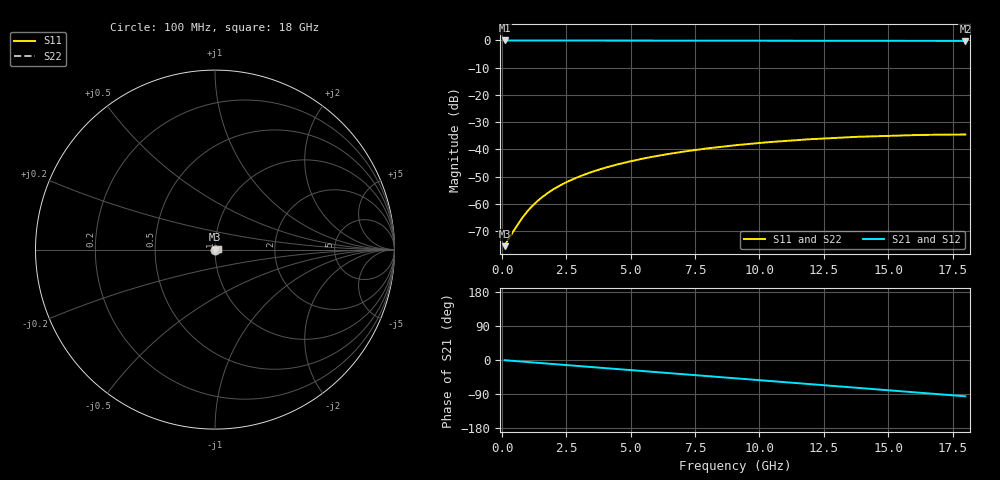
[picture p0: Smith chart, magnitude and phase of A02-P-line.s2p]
! yapnr rf coupon A: A02 P L2.5 (line, family P)
! stackup JLC04161H-7628, nominal parameters; reference planes 10 mm from each end; 50 ohm (renormalized from the line's Zc)
! model: 2D quasi-static RLGC (Djordjevic-Sarkar, Huray roughness, Wheeler loss); generated by python -m yapnr.rf.coupons expected
# GHz S DB R 50
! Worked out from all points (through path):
!   180 points, 100 MHz to 18 GHz, reference 50 ohm
!   highest |S21| = 0.00 dB at 100 MHz (marker M1); lowest = -0.2 dB at 18 GHz (marker M2)
!   group delay of S21, straight-line fit = 14.8 ps
!   lowest |S11| = -75.6 dB at 100 MHz (marker M3), VSWR 1.00, Z = 50 + j0.00936 ohm
!   |S11| at or under -10 dB: start of sweep to end of sweep
!   |S22| runs from -75.6 to -34.5 dB; largest |S21 - S12| = 0
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0.1  -75.58 34.2  -0.00 -0.6  -0.00 -0.6  -75.58 34.2
0.2  -73.67 42.1  -0.00 -1.1  -0.00 -1.1  -73.67 42.1
0.6  -67.76 73.7  -0.01 -3.2  -0.01 -3.2  -67.76 73.7
0.8  -65.01 81.8  -0.01 -4.3  -0.01 -4.3  -65.01 81.8
1  -62.62 86.5  -0.01 -5.4  -0.01 -5.4  -62.62 86.5
1.3  -59.66 90.1  -0.02 -7.0  -0.02 -7.0  -59.66 90.1
1.7  -56.55 91.7  -0.02 -9.1  -0.02 -9.1  -56.55 91.7
2.1  -54.10 91.6  -0.02 -11.3  -0.02 -11.3  -54.10 91.6
2.6  -51.64 90.4  -0.03 -13.9  -0.03 -13.9  -51.64 90.4
3.1  -49.64 88.6  -0.03 -16.6  -0.03 -16.6  -49.64 88.6
3.8  -47.36 85.5  -0.04 -20.3  -0.04 -20.3  -47.36 85.5
4.4  -45.75 82.7  -0.05 -23.5  -0.05 -23.5  -45.75 82.7
5.2  -43.96 78.7  -0.05 -27.8  -0.05 -27.8  -43.96 78.7
6.1  -42.30 74.1  -0.06 -32.5  -0.06 -32.5  -42.30 74.1
7.5  -40.24 66.8  -0.08 -40.0  -0.08 -40.0  -40.24 66.8
9.1  -38.46 58.3  -0.09 -48.5  -0.09 -48.5  -38.46 58.3
10.6  -37.19 50.4  -0.10 -56.4  -0.10 -56.4  -37.19 50.4
12.1  -36.21 42.4  -0.12 -64.4  -0.12 -64.4  -36.21 42.4
13.6  -35.48 34.4  -0.13 -72.3  -0.13 -72.3  -35.48 34.4
15.1  -34.98 26.4  -0.14 -80.3  -0.14 -80.3  -34.98 26.4
16.6  -34.67 18.5  -0.16 -88.3  -0.16 -88.3  -34.67 18.5
18  -34.55 11.1  -0.17 -95.8  -0.17 -95.8  -34.55 11.1
